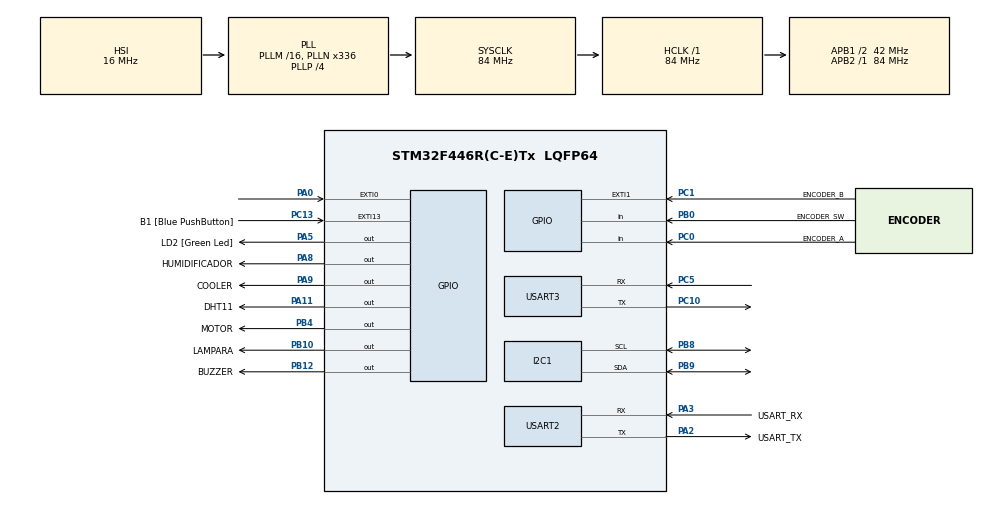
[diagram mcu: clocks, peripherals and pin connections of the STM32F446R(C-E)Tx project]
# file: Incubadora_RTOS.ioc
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Mcu.Family=STM32F4
PH0-OSC_IN.Signal=RCC_OSC_IN
VP_SYS_VS_tim6.Mode=TIM6
RCC.CortexFreq_Value=84000000
NVIC.TIM6_DAC_IRQn=true\:0\:0\:false\:false\:true\:false\:false\:true
PC10.Signal=USART3_TX
PA14.GPIO_Label=TCK
PC0.GPIO_Label=ENCODER_A
PB0.GPIO_Label=ENCODER_SW
PC5.Mode=Asynchronous
PC13.GPIO_Label=B1 [Blue PushButton]
RCC.SYSCLKSource=RCC_SYSCLKSOURCE_PLLCLK
ProjectManager.StackSize=0x400
NVIC.EXTI1_IRQn=true\:5\:0\:false\:false\:true\:true\:true\:true
RCC.HCLKFreq_Value=84000000
RCC.APB2TimFreq_Value=84000000
RCC.AHBFreq_Value=84000000
PH0-OSC_IN.Mode=HSE-External-Clock-Source
RCC.HSE_VALUE=8000000
PB12.GPIO_Label=BUZZER
PA14.Mode=Serial_Wire
PA8.Signal=GPIO_Output
VP_TIM12_VS_ClockSourceINT.Mode=Internal
VP_FREERTOS_VS_CMSIS_V1.Mode=CMSIS_V1
RCC.FLatency-AdvancedSettings=FLASH_LATENCY_2
PH1-OSC_OUT.Mode=HSE-External-Clock-Source
Mcu.Package=LQFP64
PB9.Signal=I2C1_SDA
FREERTOS.configUSE_NEWLIB_REENTRANT=1
NVIC.TimeBase=TIM6_DAC_IRQn
USART2.VirtualMode=VM_ASYNC
PA2.GPIO_Label=USART_TX
NVIC.TimeBaseIP=TIM6
RCC.APB1TimFreq_Value=84000000
PC5.Signal=USART3_RX
PC0.GPIO_PuPd=GPIO_NOPULL
PB4.Signal=GPIO_Output
PA3.Signal=USART2_RX
PB3.GPIO_Label=SWO
FREERTOS.Tasks01=defaultTask,-2,128,StartDefaultTask,Default,NULL,Dynamic,NULL,NULL
PA9.GPIO_Label=COOLER
PC13.Signal=GPXTI13
FREERTOS.INCLUDE_vTaskDelayUntil=1
FREERTOS.configCHECK_FOR_STACK_OVERFLOW=2
PC10.Mode=Asynchronous
PA11.GPIO_Label=DHT11
PC0.Signal=GPIO_Input
RCC.APB1CLKDivider=RCC_HCLK_DIV2
PC14-OSC32_IN.Signal=RCC_OSC32_IN
PA0-WKUP.Signal=GPXTI0
PA3.Mode=Asynchronous
PA13.Signal=SYS_JTMS-SWDIO
PA8.GPIO_Label=HUMIDIFICADOR
ProjectManager.TargetToolchain=STM32CubeIDE
PB10.GPIO_Label=LAMPARA
PB9.Mode=I2C
PA9.Signal=GPIO_Output
RCC.USBFreq_Value=168000000
RCC.LSE_VALUE=32768
PC15-OSC32_OUT.Signal=RCC_OSC32_OUT
PB10.Signal=GPIO_Output
TIM12.Prescaler=83
PA5.Signal=GPIO_Output
board=NUCLEO-F446RE
RCC.VCOOutputFreq_Value=336000000
RCC.APB2Freq_Value=84000000
PB4.GPIO_Label=MOTOR
PC1.GPIO_Label=ENCODER_B
PH1-OSC_OUT.Signal=RCC_OSC_OUT
PA13.Mode=Serial_Wire
Mcu.Name=STM32F446R(C-E)Tx
PA2.Signal=USART2_TX
PA13.GPIO_Label=TMS
PB3.Signal=SYS_JTDO-SWO
NVIC.EXTI0_IRQn=true\:5\:0\:false\:false\:true\:true\:true\:true
RCC.SYSCLKFreq_VALUE=84000000
PA5.GPIO_Label=LD2 [Green Led]
PC13.GPIO_ModeDefaultEXTI=GPIO_MODE_IT_FALLING
USART3.VirtualMode=VM_ASYNC
PA11.Signal=GPIO_Output
PA14.Signal=SYS_JTCK-SWCLK
ProjectManager.HeapSize=0x200
RCC.HSI_VALUE=16000000
RCC.PLLP=RCC_PLLP_DIV4
NVIC.PriorityGroup=NVIC_PRIORITYGROUP_4
PB8.Mode=I2C
RCC.PLLN=336
PA2.Mode=Asynchronous
PB8.Signal=I2C1_SCL
RCC.APB1Freq_Value=42000000
PB0.Signal=GPIO_Input
PC1.Signal=GPXTI1
PB12.Signal=GPIO_Output
PB0.GPIO_PuPd=GPIO_PULLUP
PA3.GPIO_Label=USART_RX

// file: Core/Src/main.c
/* USER CODE BEGIN Header */
/**
  ******************************************************************************
  * @file           : main.c
  * @brief          : Firmware Incubadora - Final (Lógica Control + Flash + UI Config)
  * - Integración completa de persistencia en Flash (Sector 7 F446RE).
  *
  * -
  * - Menú de Configuración editable.
  * - Corrección de brillo LCD
  ******************************************************************************
  */
/* USER CODE END Header */
#include "main.h"
#include "cmsis_os.h"

/* USER CODE BEGIN Includes */
#include "FreeRTOS.h"
#include "task.h"
#include "queue.h"
#include "semphr.h"

#include "i2c-lcd.h"
#include "eeprom.h"
#include "utils.h"
#include "config.h"
#include "rele.h"
#include "dht11.h"

/* USER CODE END Includes */

I2C_HandleTypeDef hi2c1;

TIM_HandleTypeDef htim12;

UART_HandleTypeDef huart2;
UART_HandleTypeDef huart3;

osThreadId defaultTaskHandle;
/* USER CODE BEGIN PV */

TaskHandle_t menuTaskHandle;
TaskHandle_t debounceTaskHandle;
TaskHandle_t motorTaskHandle;
TaskHandle_t controlTaskHandle;
TaskHandle_t sensorTaskHandle;

QueueHandle_t menuQueueHandle;
SemaphoreHandle_t xDHTMutex;

// --- VARIABLES DE SISTEMA ---
volatile uint32_t pulsos_acumulados = 0;
uint16_t global_rpm = 0;
volatile uint8_t is_welcome = 1;

// --- VARIABLES DE CONTROL ---
float last_valid_temp = 0.0f;
float last_valid_hum = 0.0f;
uint32_t last_dht_read_time = 0;
HumidifierState_t hum_state = HUM_STATE_IDLE;
/* USER CODE END PV */

void SystemClock_Config(void);
static void MX_GPIO_Init(void);
static void MX_I2C1_Init(void);
static void MX_USART2_UART_Init(void);
static void MX_USART3_UART_Init(void);
static void MX_TIM12_Init(void);
void StartDefaultTask(void const * argument);

/* USER CODE BEGIN 0 */

/**
 * @brief Tarea principal de gestión de menú e interfaz de usuario.
 *
 * Esta tarea maneja:
 *  -
 *  -
 *  -
 *  -
 *
 * La comunicación con las ISR se realiza mediante una cola RTOS.
 *
 * @param argument Parámetro no utilizado
 */

void StartMenuTask(void *argument)
{
    /* Mensaje de bienvenida */
    if (is_welcome) {
        LCD_ShowWelcome("TDII: INCUBADORA");
        vTaskDelay(pdMS_TO_TICKS(1000));
        is_welcome = 0;
    }

    /* Inicializa la pantalla al arrancar la tarea */
    update_display();

    MenuEvent_t event;
    uint32_t last_draw_time = 0;   // Último refresco del LCD
    int needs_update = 0;          // Flag para redibujar pantalla

    /* Variables para actualización solo ante cambios (Dashboard) */
    float last_disp_temp = -999.0f;
    float last_disp_hum  = -999.0f;
    uint16_t last_disp_rpm = 9999;
    HumidifierState_t last_disp_hum_state = HUM_STATE_IDLE;
    uint8_t last_disp_day = 255;
    uint8_t last_disp_is_running = 255;
    uint8_t last_disp_hour = 255;

    for (;;)
    {
        /* Espera evento del menú (encoder / botón)
           Timeout de 200 ms para permitir refresco periódico del dashboard */
        if (xQueueReceive(menuQueueHandle, &event, pdMS_TO_TICKS(200)) == pdPASS)
        {
            MenuEvent_t initial_event = event;

            /* -------- BOTÓN: PRESIÓN LARGA (volver atrás) -------- */
            if (initial_event == BUTTON_LONG_PRESS) {
                // Si estamos en cualquier sub-menú de edición o test, volvemos al menú principal
                if (current_ui_mode == UI_MODE_TEST_MENU ||
                    current_ui_mode == UI_MODE_CONFIG_EDIT ||
                    current_ui_mode == UI_MODE_CONFIG_GLOBAL ||
                    current_ui_mode == UI_MODE_CONFIG_TIME ||
                    current_ui_mode == UI_MODE_CONFIG_SELECT)
                {
                    current_ui_mode = UI_MODE_MAIN_MENU;
                }
                else if (current_ui_mode == UI_MODE_MAIN_MENU) {
                    current_ui_mode = UI_MODE_DASHBOARD;
                }

                needs_update = 1;
                continue; // Saltar el resto del bucle
            }

            /* -------- PROCESAMIENTO DE MOVIMIENTO -------- */
            int8_t net_movement = 0;
            int button_pressed = 0;

            if (initial_event == ENCODER_RIGHT) net_movement++;
            else if (initial_event == ENCODER_LEFT) net_movement--;
            else if (initial_event == BUTTON_PRESS) button_pressed = 1;

            /* Acumula eventos rápidos del encoder (anti-lag UI) */
            int batch_limit = 20;
            while (batch_limit-- > 0 && xQueueReceive(menuQueueHandle, &event, 0) == pdPASS)
            {
                if (event == ENCODER_RIGHT) net_movement++;
                else if (event == ENCODER_LEFT) net_movement--;
            }

            /* ================= LÓGICA DE INTERFAZ ================= */

            /* -------- DASHBOARD -------- */
            if (current_ui_mode == UI_MODE_DASHBOARD) {
                if (button_pressed) {
                    current_ui_mode = UI_MODE_MAIN_MENU;
                    selected_item = 0;
                    needs_update = 1;
                }
            }

            /* -------- MENÚ PRINCIPAL -------- */
            else if (current_ui_mode == UI_MODE_MAIN_MENU) {

                if (net_movement != 0) {
                    int16_t new_pos = selected_item + net_movement;
                    selected_item = ((new_pos % menu_size) + menu_size) % menu_size;

                    if (selected_item >= menu_top_item + LCD_ROWS)
                        menu_top_item = selected_item - (LCD_ROWS - 1);
                    else if (selected_item < menu_top_item)
                        menu_top_item = selected_item;

                    needs_update = 1;
                }

                if (button_pressed) {
                    if (selected_item == 1) { // INICIAR / PAUSAR
                        /* OPTIMIZACIÓN: Calcular y Guardar UNA sola vez */
                        if (sysData.is_running) {
                            // Pausando: Calcular tiempo transcurrido y sumar
                            uint32_t current_session_min = (HAL_GetTick() - sysData.last_boot_tick) / 60000U;
                            sysData.saved_timestamp += current_session_min;
                            sysData.is_running = 0;
                        } else {
                            // Iniciando: Resetear tick de referencia
                            sysData.is_running = 1;
                            sysData.last_boot_tick = HAL_GetTick();
                        }
                        // Guardado único para no congelar la UI dos veces
                        Save_Config_To_Flash();
                    }
                    else if (selected_item == 2) { // CONFIGURACION
                        current_ui_mode = UI_MODE_CONFIG_SELECT;
                        config_sel_index = 0;
                        config_top_index = 0;
                    }
                    else if (selected_item == 3) { // TEST
                        current_ui_mode = UI_MODE_TEST_MENU;
                        test_selected_item = 0;
                    }
                    else { // VOLVER / VER SENSORES
                        current_ui_mode = UI_MODE_DASHBOARD;
                    }
                    needs_update = 1;
                }
            }

            /* -------- MENÚ DE TEST -------- */
            else if (current_ui_mode == UI_MODE_TEST_MENU) {
                if (net_movement != 0) {
                    int16_t new_pos = test_selected_item + net_movement;
                    test_selected_item = ((new_pos % test_menu_size) + test_menu_size) % test_menu_size;

                    if (test_selected_item >= test_top_item + LCD_ROWS)
                        test_top_item = test_selected_item - (LCD_ROWS - 1);
                    else if (test_selected_item < test_top_item)
                        test_top_item = test_selected_item;

                    needs_update = 1;
                }
                if (button_pressed) {
                    toggle_output(test_selected_item);
                    needs_update = 1;
                }
            }

            /* -------- SELECCIÓN DE CONFIGURACIÓN -------- */
            else if (current_ui_mode == UI_MODE_CONFIG_SELECT) {
                if (net_movement != 0) {
                    int16_t new_pos = config_sel_index + net_movement;
                    config_sel_index = ((new_pos % config_menu_sz) + config_menu_sz) % config_menu_sz;

                    if (config_sel_index >= config_top_index + LCD_ROWS)
                        config_top_index = config_sel_index - (LCD_ROWS - 1);
                    else if (config_sel_index < config_top_index)
                        config_top_index = config_sel_index;

                    needs_update = 1;
                }

                if (button_pressed) {
                    if (config_sel_index <= 1) { // Desarrollo o Eclosión
                        sysData.current_stage_idx = config_sel_index;
                        current_ui_mode = UI_MODE_CONFIG_EDIT;
                        config_item = 0;
                        is_editing_val = 0;
                    }
                    else if (config_sel_index == 2) { // Ciclo Total
                        current_ui_mode = UI_MODE_CONFIG_GLOBAL;
                        config_item = 0;
                        is_editing_val = 0;
                    }
                    else if (config_sel_index == 3) { // Ajustar Tiempo
                        current_ui_mode = UI_MODE_CONFIG_TIME;
                        config_item = 0;
                        is_editing_val = 0;
                        // Cargar valores actuales en variables temporales
                        edit_day  = Get_Current_Day();
                        if (edit_day == 0) edit_day = 1;
                        edit_hour = Get_Current_Hour();
                        edit_min  = Get_Current_Minute();
                    }
                    else { // Volver
                        current_ui_mode = UI_MODE_MAIN_MENU;
                    }
                    needs_update = 1;
                }
            }

            /* -------- CONFIGURACIÓN: EDICIÓN DE ETAPA (LO QUE FALTABA) -------- */
            else if (current_ui_mode == UI_MODE_CONFIG_EDIT) {
                StageConfig_t *st = &sysData.stages[sysData.current_stage_idx];

                if (button_pressed) {
                    if (config_item == 4) { // [SALIR]
                        Save_Config_To_Flash();
                        current_ui_mode = UI_MODE_CONFIG_SELECT;
                    } else {
                        is_editing_val = !is_editing_val;
                    }
                    needs_update = 1;
                }

                if (net_movement != 0) {
                    if (!is_editing_val) {
                        config_item += net_movement;
                        if (config_item < 0) config_item = 4;
                        if (config_item > 4) config_item = 0;
                    } else {
                        switch(config_item) {
                            case 0: // Fin Día
                                st->end_day += net_movement;
                                if(st->end_day < 1) st->end_day = 1;
                                break;
                            case 1: // Temp
                                st->temp_target += (net_movement * 0.1f);
                                if(st->temp_target > 42.0f) st->temp_target = 42.0f; // Límites
                                if(st->temp_target < 20.0f) st->temp_target = 20.0f;
                                break;
                            case 2: // Hum
                                st->hum_target += (float)net_movement;
                                if(st->hum_target > 90.0f) st->hum_target = 90.0f;
                                if(st->hum_target < 20.0f) st->hum_target = 20.0f;
                                break;
                            case 3: // Motor
                                if(net_movement != 0) st->motor_on = !st->motor_on;
                                break;
                        }
                    }
                    needs_update = 1;
                }
            }

            /* -------- CONFIGURACIÓN: GLOBAL (LO QUE FALTABA) -------- */
            else if (current_ui_mode == UI_MODE_CONFIG_GLOBAL) {
                if (button_pressed) {
                    if (config_item == 1) { // [GUARDAR]
                        Save_Config_To_Flash();
                        current_ui_mode = UI_MODE_CONFIG_SELECT;
                    } else {
                        is_editing_val = !is_editing_val;
                    }
                    needs_update = 1;
                }

                if (net_movement != 0) {
                    if (!is_editing_val) {
                        config_item += net_movement;
                        if (config_item < 0) config_item = 1;
                        if (config_item > 1) config_item = 0;
                    } else {
                        if (config_item == 0) { // Total Días
                            sysData.total_days += net_movement;
                            if (sysData.total_days < 1) sysData.total_days = 1;
                        }
                    }
                    needs_update = 1;
                }
            }

            /* -------- CONFIGURACIÓN: TIEMPO -------- */
            else if (current_ui_mode == UI_MODE_CONFIG_TIME) {
                if (button_pressed) {
                    if (config_item == 3) { // [GUARDAR]
                        uint32_t new_total_mins =
                            ((uint32_t)(edit_day - 1) * 1440) +
                            ((uint32_t)edit_hour * 60) +
                            (uint32_t)edit_min;

                        sysData.saved_timestamp = new_total_mins;
                        sysData.last_boot_tick = HAL_GetTick();
                        Save_Config_To_Flash();
                        current_ui_mode = UI_MODE_CONFIG_SELECT;
                    } else {
                        is_editing_val = !is_editing_val;
                    }
                    needs_update = 1;
                }

                if (net_movement != 0) {
                    if (!is_editing_val) {
                        config_item += net_movement;
                        if (config_item < 0) config_item = 3;
                        if (config_item > 3) config_item = 0;
                    } else {
                        switch (config_item) {
                            case 0: // Día
                                edit_day += net_movement;
                                if (edit_day < 1) edit_day = 1;
                                break;
                            case 1: // Hora
                                edit_hour = (edit_hour + net_movement + 24) % 24;
                                break;
                            case 2: // Min
                                edit_min = (edit_min + net_movement + 60) % 60;
                                break;
                        }
                    }
                    needs_update = 1;
                }
            }
        }
        /* ================= TIMEOUT (UPDATE-ON-CHANGE) ================= */
        else
        {
            if (current_ui_mode == UI_MODE_DASHBOARD) {
                // Chequear cambios usando liveStatus
                uint8_t day  = Get_Current_Day();
                uint8_t hour = Get_Current_Hour();

                if (liveStatus.temp_current != last_disp_temp ||
                    liveStatus.hum_current  != last_disp_hum  ||
                    liveStatus.rpm_current  != last_disp_rpm  ||
                    hum_state               != last_disp_hum_state ||
                    day                     != last_disp_day ||
                    hour                    != last_disp_hour ||
                    sysData.is_running      != last_disp_is_running)
                {
                    needs_update = 1;
                }
            }
        }

        /* ================= DIBUJO CONTROLADO ================= */
        uint32_t current_time = HAL_GetTick();

        if (needs_update && (current_time - last_draw_time >= MIN_DRAW_INTERVAL_MS))
        {
            if (current_ui_mode == UI_MODE_DASHBOARD) {
                last_disp_temp = liveStatus.temp_current;
                last_disp_hum  = liveStatus.hum_current;
                last_disp_rpm  = liveStatus.rpm_current;
                last_disp_hum_state = hum_state;
                last_disp_day  = Get_Current_Day();
                last_disp_hour = Get_Current_Hour();
                last_disp_is_running = sysData.is_running;
            }

            update_display();
            last_draw_time = current_time;
            needs_update = 0;
        }
    }
}

/**
 * @brief Tarea de debounce y detección de pulsaciones del botón del encoder.
 *
 * Esta tarea implementa un debounce por integrador digital y detecta:
 *  - Pulsación corta (BUTTON_PRESS)
 *  - Pulsación larga (BUTTON_LONG_PRESS)
 *
 * Funciona mediante sondeo periódico (polling) y envía eventos a la
 * cola del menú para ser procesados por la tarea de UI.
 *
 * Ventajas del enfoque:
 *  - No bloquea interrupciones
 *  - Filtrado robusto de rebotes mecánicos
 *  - Detección confiable de pulsación larga
 *
 * @param argument Parámetro no utilizado
 */
void StartDebounceTask(void *argument)
{
    /* Integrador digital para debounce:
       incrementa cuando el botón está presionado,
       decrementa cuando está liberado */
    uint8_t integrator = 0;

    /* Estado anterior del botón:
       1 = liberado
       0 = presionado */
    uint8_t prev_state = 1;

    /* Contador de tiempo de pulsación (para long press) */
    uint32_t hold_counter = 0;

    /* Flag para evitar reenviar múltiples eventos de pulsación larga */
    uint8_t long_press_sent = 0;

    const TickType_t poll_delay = pdMS_TO_TICKS(DEBOUNCE_POLL_RATE_MS);

    for (;;)
    {
        /* Periodo de muestreo del botón */
        vTaskDelay(poll_delay);

        /* Lectura del pin del botón (activo en nivel bajo) */
        uint8_t pin_state = HAL_GPIO_ReadPin(
                                ENCODER_SW_GPIO_Port,
                                ENCODER_SW_Pin);

        /* ================= DEBOUNCE POR INTEGRADOR ================= */

        if (pin_state == GPIO_PIN_RESET) {
            /* Botón presionado → integrar hacia arriba */
            if (integrator < DEBOUNCE_THRESHOLD)
                integrator++;
        } else {
            /* Botón liberado → integrar hacia abajo */
            if (integrator > 0)
                integrator--;
        }

        /* ================= DETECCIÓN DE EVENTOS ================= */

        /* ---- Transición: LIBERADO → PRESIONADO ---- */
        if (integrator >= DEBOUNCE_THRESHOLD && prev_state == 1) {

            prev_state = 0;        // Nuevo estado: presionado
            hold_counter = 0;      // Reiniciar contador de hold
            long_press_sent = 0;   // Habilitar detección de long press

            /* Enviar evento de pulsación corta */
            MenuEvent_t event = BUTTON_PRESS;
            xQueueSend(menuQueueHandle, &event, pdMS_TO_TICKS(10));
        }

        /* ---- Botón mantenido presionado ---- */
        else if (prev_state == 0 && integrator >= DEBOUNCE_THRESHOLD) {

            hold_counter++;

            /* Detectar pulsación larga */
            if (hold_counter >= LONG_PRESS_TICKS &&
                long_press_sent == 0)
            {
                long_press_sent = 1;

                MenuEvent_t event = BUTTON_LONG_PRESS;
                xQueueSend(menuQueueHandle, &event, pdMS_TO_TICKS(10));
            }
        }

        /* ---- Transición: PRESIONADO → LIBERADO ---- */
        else if (integrator == 0 && prev_state == 0) {

            prev_state = 1;        // Volver a estado liberado
        }
    }
}

/**
 * @brief Tarea de cálculo de RPM del motor.
 *
 * Esta tarea se ejecuta periódicamente y calcula la velocidad del motor
 * en RPM a partir de los pulsos generados por un sensor o encoder.
 *
 * Funcionamiento:
 *  - La interrupción incrementa `motor_pulse_count`
 *  - Esta tarea toma un snapshot del contador de forma atómica
 *  - Calcula las RPM según el intervalo de muestreo
 *  - Actualiza variables globales y de estado en tiempo real
 *
 * El uso de una sección crítica garantiza coherencia de datos entre
 * interrupciones y contexto de tarea.
 *
 * @param argument Parámetro no utilizado
 */
void StartMotorTask(void *argument)
{
    /* Variable local para capturar los pulsos acumulados
       durante el intervalo de medición */
    uint32_t pulses_snapshot = 0;

    const TickType_t calc_delay =
        pdMS_TO_TICKS(MOTOR_CALC_INTERVAL_MS);

    for (;;)
    {
        /* Espera fija entre cálculos de RPM */
        vTaskDelay(calc_delay);

        /* ================= SECCIÓN CR�?TICA =================
           Protege el acceso a motor_pulse_count, que es
           modificada desde una ISR (EXTI / sensor de motor) */
        taskENTER_CRITICAL();
        pulses_snapshot = pulsos_acumulados;  // Copia atómica
        pulsos_acumulados = 0;                 // Reinicio del contador
        taskEXIT_CRITICAL();
        /* =================================================== */

        /* Cálculo de RPM:
           pulses_snapshot  → pulsos en el intervalo
           ENCODER_SLOTS    → pulsos por revolución
           MOTOR_CALC_INTERVAL_MS → ventana de tiempo en ms

           Fórmula:
           RPM = (pulsos * 60s * 1000ms) / (slots * intervalo_ms)
        */
        uint32_t calculated_rpm =
            (pulses_snapshot * 60UL * 1000UL) /
            (ENCODER_SLOTS * MOTOR_CALC_INTERVAL_MS);

        /* Guardar RPM calculada (limitada a 16 bits) */
        global_rpm = (uint16_t)calculated_rpm;

        /* Actualizar estructura de estado en tiempo real
           utilizada por el dashboard / UI */
        liveStatus.rpm_current = global_rpm;
    }
}

/**
 * @brief Tarea principal de control ambiental de la incubadora.
 *
 * Esta tarea implementa el lazo de control de:
 *  - Temperatura (lámpara calefactora + cooler)
 *  - Humedad (humidificador ultrasónico)
 *  - Actualización de variables de estado en tiempo real
 *
 * El control se basa en:
 *  - Histéresis y soft-PWM para temperatura
 *  - Máquina de estados temporizada para humedad
 *
 * Todas las salidas son Active-Low:
 *  - GPIO_PIN_RESET → dispositivo encendido
 *  - GPIO_PIN_SET   → dispositivo apagado
 *
 * @param argument Parámetro no utilizado (requerido por CMSIS-RTOS)
 */
void StartControlTask(void * argument)
{
	// Variables de Objetivos
	    float target_t = 0.0f;
	    float target_h = 0.0f;
	    uint8_t motor_enabled = 0;

	    // --- TIMERS Y FLAGS DE ALARMA TEMPERATURA ---
	    uint32_t timer_tolerable_start = 0;
	    uint8_t  flag_tolerable_active = 0;

	    uint32_t timer_critical_start = 0;
	    uint8_t  flag_critical_active = 0;

	    // --- TIMERS HUMEDAD ---
	    uint32_t timer_hum_alarm_start = 0;
	    uint8_t  flag_hum_alarm_active = 0;

	    // --- VARIABLES PARA TELEGRAM/UART ---
	    char msg_buffer[128];
	    uint32_t last_telegram_tick = 0;
	    const uint32_t TELEGRAM_COOLDOWN = 30000; // 1 mensaje por medio minuto máximo

	    /* ============== CONFIGURACIÓN VOLTEO ============== */
		// Cada cuánto tiempo se activa (2 Horas = 7,200,000 ms)
		const uint32_t INTERVALO_VOLTEO_MS = 60000;

		// CANTIDAD DE PULSOS para un giro perfecto

		const uint32_t PULSOS_OBJETIVO = 10;

		// Timeout de seguridad: Si en 20 seg no llegó a los pulsos, corta igual.
		const uint32_t TIEMPO_MAXIMO_SEGURIDAD = 200000;

		uint32_t ultimo_volteo_tick = 0; // Para medir las 2 horas
		uint8_t  is_motor_turning = 0;   // Estado interno
		/* ================================================== */

	    // Sincronización inicial
	    vTaskDelay(pdMS_TO_TICKS(2000));

	    for(;;)
	    {
	        // Evitar ejecución durante menú de prueba
	        if (current_ui_mode == UI_MODE_TEST_MENU) {
	            vTaskDelay(pdMS_TO_TICKS(500));
	            continue;
	        }

	        uint32_t now = HAL_GetTick();

	        // 1. Obtener Objetivos
	        Get_Active_Targets(&target_t, &target_h, &motor_enabled);

	        // Actualizar datos para UI
	        liveStatus.day_current  = Get_Current_Day();
	        liveStatus.hour_current = Get_Current_Hour();
	        liveStatus.temp_target  = target_t;
	        liveStatus.hum_target   = target_h;

	        // Si el sistema está en pausa o no iniciado
	        if (target_t == 0.0f) {
	            RELES_ApagarTodos();
	            flag_tolerable_active = 0;
	            flag_critical_active = 0;
	            flag_hum_alarm_active = 0;
	            vTaskDelay(pdMS_TO_TICKS(1000));
	            continue;
	        }

	        float curr_t = liveStatus.temp_current;
	        float curr_h = liveStatus.hum_current;

	        // --- CÁLCULO DE UMBRALES ---
	        float diff_t = curr_t - target_t; // +Calor, -Frio
	        float error_t_abs = fabsf(diff_t);

	        // Umbrales Temperatura (3% y 8%)
	        float UMBRAL_TEMP_TOLERABLE = target_t * 0.03f;
	        float UMBRAL_TEMP_CRITICAL  = target_t * 0.08f;

	        // Umbrales Humedad (5%)
	        float UMBRAL_HUM_RANGO = target_h * 0.05f;

	        // Tiempos Límite
	        uint32_t TIME_LIMIT_TEMP_TOLERABLE = pdMS_TO_TICKS(360000); // 6 min
	        uint32_t TIME_LIMIT_TEMP_CRITICAL  = pdMS_TO_TICKS(180000);  // 3 Minutos
	        uint32_t TIME_LIMIT_HUM_ALARM      = pdMS_TO_TICKS(120000); // 2 Minutos

	        // Estados de Actuadores (Lógica negativa: 1 = Encender)
	        uint8_t req_lampara = 0;
	        uint8_t req_cooler = 0;
	        uint8_t req_humidificador = 0;
	        uint8_t req_buzzer = 0;
	        uint8_t req_telegram = 0;

	        msg_buffer[0] = '\0'; // Limpiar mensaje

	        // ============================================================
	        //              LÓGICA DE TEMPERATURA
	        // ============================================================

	        // 1. Detección de Estado CRÍTICO (> 8%)
	        if (error_t_abs >= UMBRAL_TEMP_CRITICAL) {
	            if (!flag_critical_active) {
	                timer_critical_start = now;
	                flag_critical_active = 1;
	            }
	            // Alarma tras 15 minutos
	            if ((now - timer_critical_start) >= TIME_LIMIT_TEMP_CRITICAL) {
	                req_buzzer = 1;
	                req_telegram = 1;
	                snprintf(msg_buffer, sizeof(msg_buffer),
	                    "ALERTA CRITICA: Temp %0.1fC (Desvio >8%%). Tiempo excedido.\r\n", curr_t);
	            }
	        } else {
	            flag_critical_active = 0;
	        }

	        // 2. Detección de Estado TOLERABLE (3% - 8%)
	        if (error_t_abs >= UMBRAL_TEMP_TOLERABLE && error_t_abs < UMBRAL_TEMP_CRITICAL) {
	            if (!flag_tolerable_active) {
	                timer_tolerable_start = now;
	                flag_tolerable_active = 1;
	            }
	            // Alarma tras 1 hora
	            if ((now - timer_tolerable_start) >= TIME_LIMIT_TEMP_TOLERABLE) {
	                req_buzzer = 1;
	                req_telegram = 1;
	                // Prioridad al mensaje crítico si ya existe
	                if (msg_buffer[0] == '\0') {
	                    snprintf(msg_buffer, sizeof(msg_buffer),
	                        "ALERTA TOLERABLE: Temp %0.1fC. Fuera de rango > 1 hora.\r\n", curr_t);
	                }
	            }
	        } else {
	            flag_tolerable_active = 0;
	        }

	        // 3. Control de Actuadores Temperatura
	        if (diff_t > UMBRAL_TEMP_TOLERABLE) {
	            // Exceso de Calor (> +3%): Activar Cooler, Apagar Lámpara
	            req_cooler = 1;
	            req_lampara = 0;
	        }
	        else if (diff_t < -UMBRAL_TEMP_TOLERABLE) {
	            // Exceso de Frío (< -3%): Apagar Cooler, Activar Lámpara
	            req_cooler = 0;
	            req_lampara = 1;
	        }
	        else {
	            // Zona de Histéresis Normal (+/- 3%)
	            // Mantenimiento simple
	            if (curr_t < target_t) {
	                req_lampara = 1;
	            } else {
	                req_lampara = 0;
	            }
	            // Cooler apagado en zona normal (salvo que humedad lo pida)
	        }

	        // ============================================================
	        //              LÓGICA DE HUMEDAD
	        // ============================================================

	        float hum_diff = curr_h - target_h;
	        float hum_error_abs = fabsf(hum_diff);

	        // 1. Alarma Fuera de Rango (> 5%)
	        if (hum_error_abs > UMBRAL_HUM_RANGO) {
	            if (!flag_hum_alarm_active) {
	                timer_hum_alarm_start = now;
	                flag_hum_alarm_active = 1;
	            }
	            // Alarma tras 30 minutos
	            if ((now - timer_hum_alarm_start) >= TIME_LIMIT_HUM_ALARM) {
	                req_buzzer = 1;
	                req_telegram = 1;
	                 if (msg_buffer[0] == '\0') {
	                    snprintf(msg_buffer, sizeof(msg_buffer),
	                        "ALERTA HUMEDAD: %0.1f%%. Fuera de rango > 30 min.\r\n", curr_h);
	                }
	            }
	        } else {
	            flag_hum_alarm_active = 0;
	        }

	        // 2. Control Actuadores Humedad
	        if (curr_h < (target_h - UMBRAL_HUM_RANGO)) {
	            // Humedad Baja: Activar Humidificador
	            req_humidificador = 1;
	        }
	        else if (curr_h > (target_h + UMBRAL_HUM_RANGO)) {
	            // Humedad Alta: Activar Cooler para ventilar
	            req_cooler = 1;
	            req_humidificador = 0;
	        }
	        else {
	            // En rango: Apagar humidificador
	            req_humidificador = 0;
	        }

	        // ============================================================
	        //              EJECUCIÓN FÍSICA
	        // ============================================================

	        // Lámpara
	        if (req_lampara) encender_lampara();
	        else apagar_lampara();

	        // Cooler (OR Lógico: Se enciende por Temp O por Humedad)
	        if (req_cooler) encender_cooler();
	        else apagar_cooler();

	        // Humidificador
	        if (req_humidificador) encender_humidificador();
	        else apagar_humidificador();

	        // Buzzer (Alarma sonora)
	        if (req_buzzer) encender_buzzer();
	        else apagar_buzzer();

	        // Telegram / UART
	        if (req_telegram && (msg_buffer[0] != '\0')) {
	             if ((now - last_telegram_tick) > TELEGRAM_COOLDOWN) {
	                 // Enviar por UART3
	                 HAL_UART_Transmit(&huart3, (uint8_t*)msg_buffer, strlen(msg_buffer), 100);
	                 last_telegram_tick = now;
	             }
	        }

	        if (motor_enabled) { // Solo si la etapa (Ej: Desarrollo) lo permite

				// 1. INICIAR EL GIRO
				// Si no está girando Y pasaron 2 horas desde el último volteo
				if (!is_motor_turning && (now - ultimo_volteo_tick >= INTERVALO_VOLTEO_MS)) {

					// Reseteamos el contador de pulsos a 0 de forma segura
					taskENTER_CRITICAL();
					pulsos_acumulados = 0;
					taskEXIT_CRITICAL();

					encender_motor();
					is_motor_turning = 1;      // Flag: Estamos girando
					ultimo_volteo_tick = now;  // Reiniciamos el cronómetro de 2 horas
				}

				// 2. DETENER EL GIRO
				// Si está girando actualmente...
				if (is_motor_turning) {

					// Leemos los pulsos actuales
					uint32_t pulsos_actuales;
					taskENTER_CRITICAL();
					pulsos_actuales = pulsos_acumulados;
					taskEXIT_CRITICAL();

					// CONDICIÓN DE CORTE:
					// A. Llegamos a la cantidad de pulsos deseada (Posición correcta)
					// B. O pasó demasiado tiempo (Seguridad por si se rompe la correa/sensor)
					if ((pulsos_actuales >= PULSOS_OBJETIVO) ||
						((now - ultimo_volteo_tick) > TIEMPO_MAXIMO_SEGURIDAD))
					{
						apagar_motor();
						is_motor_turning = 0; // Fin del giro
					}
				}

			} else {
				// Si cambiamos de etapa (a Eclosión) y el motor estaba andando,
				// lo apagamos inmediatamente.
				if (is_motor_turning || (estado_motor() == RELE_ACTIVO)) {
					apagar_motor();
					is_motor_turning = 0;
				}
			}

	        vTaskDelay(pdMS_TO_TICKS(1000));
	    }

}
void StartSensorTask(void *argument){
    TickType_t lastWake = xTaskGetTickCount();

    for (;;)
    {
        /* Pauso scheduler para mantener timing fino del DHT11 */
		DHT11_GetDatos();

        vTaskDelayUntil(&lastWake, pdMS_TO_TICKS(1000));
    }
}

/* USER CODE END 0 */

int main(void)
{

  /* MCU Configuration--------------------------------------------------------*/

  /* Reset of all peripherals, Initializes the Flash interface and the Systick. */
  HAL_Init();

  /* Configure the system clock */
  SystemClock_Config();

  /* Initialize all configured peripherals */
  MX_GPIO_Init();
  MX_I2C1_Init();
  MX_USART2_UART_Init();
  MX_USART3_UART_Init();
  MX_TIM12_Init();

  /* USER CODE BEGIN 2 */
  HAL_GPIO_WritePin(LD2_GPIO_Port, LD2_Pin, GPIO_PIN_SET);

  Enable_Internal_Pullups(); // Anti-ruido I2C
  I2C_Scan();                // Escaneo
  HD44780_Init(LCD_ROWS);
  // Cargar configuración guardada
  Load_Config_From_Flash();

  DHT11_Init();
  RELES_Init();
  /* USER CODE END 2 */

  /* USER CODE BEGIN RTOS_MUTEX */
  xDHTMutex = xSemaphoreCreateMutex();
  /* USER CODE END RTOS_MUTEX */

  /* USER CODE BEGIN RTOS_QUEUES */
  menuQueueHandle = xQueueCreate(32, sizeof(uint32_t));
  /* USER CODE END RTOS_QUEUES */

  /* Create the thread(s) */
  /* definition and creation of defaultTask */
  osThreadDef(defaultTask, StartDefaultTask, osPriorityLow, 0, 128);
  defaultTaskHandle = osThreadCreate(osThread(defaultTask), NULL);

  /* USER CODE BEGIN RTOS_THREADS */
  xTaskCreate(StartMenuTask, "Menu", 1024, NULL, osPriorityRealtime, &menuTaskHandle);
  xTaskCreate(StartDebounceTask, "Debounce", 128, NULL, osPriorityNormal, &debounceTaskHandle);
  xTaskCreate(StartMotorTask, "Motor", 128, NULL, osPriorityNormal, &motorTaskHandle);
  xTaskCreate(StartControlTask, "Control", 512, NULL, osPriorityNormal, &controlTaskHandle);
  xTaskCreate(StartSensorTask, "Sensor", 1024, NULL, osPriorityAboveNormal, &sensorTaskHandle);

  /* USER CODE END RTOS_THREADS */

  /* Start scheduler */
  osKernelStart();

  /* We should never get here as control is now taken by the scheduler */
  /* Infinite loop */
  while (1)
  {

  }
}

void SystemClock_Config(void)
{
  RCC_OscInitTypeDef RCC_OscInitStruct = {0};
  RCC_ClkInitTypeDef RCC_ClkInitStruct = {0};

  /** Configure the main internal regulator output voltage
  */
  __HAL_RCC_PWR_CLK_ENABLE();
  __HAL_PWR_VOLTAGESCALING_CONFIG(PWR_REGULATOR_VOLTAGE_SCALE3);
  /** Initializes the RCC Oscillators according to the specified parameters
  * in the RCC_OscInitTypeDef structure.
  */
  RCC_OscInitStruct.OscillatorType = RCC_OSCILLATORTYPE_HSI;
  RCC_OscInitStruct.HSIState = RCC_HSI_ON;
  RCC_OscInitStruct.HSICalibrationValue = RCC_HSICALIBRATION_DEFAULT;
  RCC_OscInitStruct.PLL.PLLState = RCC_PLL_ON;
  RCC_OscInitStruct.PLL.PLLSource = RCC_PLLSOURCE_HSI;
  RCC_OscInitStruct.PLL.PLLM = 16;
  RCC_OscInitStruct.PLL.PLLN = 336;
  RCC_OscInitStruct.PLL.PLLP = RCC_PLLP_DIV4;
  RCC_OscInitStruct.PLL.PLLQ = 2;
  RCC_OscInitStruct.PLL.PLLR = 2;
  if (HAL_RCC_OscConfig(&RCC_OscInitStruct) != HAL_OK)
  {
    Error_Handler();
  }
  /** Initializes the CPU, AHB and APB buses clocks
  */
  RCC_ClkInitStruct.ClockType = RCC_CLOCKTYPE_HCLK|RCC_CLOCKTYPE_SYSCLK
                              |RCC_CLOCKTYPE_PCLK1|RCC_CLOCKTYPE_PCLK2;
  RCC_ClkInitStruct.SYSCLKSource = RCC_SYSCLKSOURCE_PLLCLK;
  RCC_ClkInitStruct.AHBCLKDivider = RCC_SYSCLK_DIV1;
  RCC_ClkInitStruct.APB1CLKDivider = RCC_HCLK_DIV2;
  RCC_ClkInitStruct.APB2CLKDivider = RCC_HCLK_DIV1;

  if (HAL_RCC_ClockConfig(&RCC_ClkInitStruct, FLASH_LATENCY_2) != HAL_OK)
  {
    Error_Handler();
  }
}

static void MX_I2C1_Init(void)
{

  hi2c1.Instance = I2C1;
  hi2c1.Init.ClockSpeed = 100000;
  hi2c1.Init.DutyCycle = I2C_DUTYCYCLE_2;
  hi2c1.Init.OwnAddress1 = 0;
  hi2c1.Init.AddressingMode = I2C_ADDRESSINGMODE_7BIT;
  hi2c1.Init.DualAddressMode = I2C_DUALADDRESS_DISABLE;
  hi2c1.Init.OwnAddress2 = 0;
  hi2c1.Init.GeneralCallMode = I2C_GENERALCALL_DISABLE;
  hi2c1.Init.NoStretchMode = I2C_NOSTRETCH_DISABLE;
  if (HAL_I2C_Init(&hi2c1) != HAL_OK)
  {
    Error_Handler();
  }

}

static void MX_TIM12_Init(void)
{

  TIM_ClockConfigTypeDef sClockSourceConfig = {0};

  htim12.Instance = TIM12;
  htim12.Init.Prescaler = 83;
  htim12.Init.CounterMode = TIM_COUNTERMODE_UP;
  htim12.Init.Period = 65535;
  htim12.Init.ClockDivision = TIM_CLOCKDIVISION_DIV1;
  htim12.Init.AutoReloadPreload = TIM_AUTORELOAD_PRELOAD_DISABLE;
  if (HAL_TIM_Base_Init(&htim12) != HAL_OK)
  {
    Error_Handler();
  }
  sClockSourceConfig.ClockSource = TIM_CLOCKSOURCE_INTERNAL;
  if (HAL_TIM_ConfigClockSource(&htim12, &sClockSourceConfig) != HAL_OK)
  {
    Error_Handler();
  }

}

static void MX_USART2_UART_Init(void)
{

  huart2.Instance = USART2;
  huart2.Init.BaudRate = 115200;
  huart2.Init.WordLength = UART_WORDLENGTH_8B;
  huart2.Init.StopBits = UART_STOPBITS_1;
  huart2.Init.Parity = UART_PARITY_NONE;
  huart2.Init.Mode = UART_MODE_TX_RX;
  huart2.Init.HwFlowCtl = UART_HWCONTROL_NONE;
  huart2.Init.OverSampling = UART_OVERSAMPLING_16;
  if (HAL_UART_Init(&huart2) != HAL_OK)
  {
    Error_Handler();
  }

}

static void MX_USART3_UART_Init(void)
{

  huart3.Instance = USART3;
  huart3.Init.BaudRate = 115200;
  huart3.Init.WordLength = UART_WORDLENGTH_8B;
  huart3.Init.StopBits = UART_STOPBITS_1;
  huart3.Init.Parity = UART_PARITY_NONE;
  huart3.Init.Mode = UART_MODE_TX_RX;
  huart3.Init.HwFlowCtl = UART_HWCONTROL_NONE;
  huart3.Init.OverSampling = UART_OVERSAMPLING_16;
  if (HAL_UART_Init(&huart3) != HAL_OK)
  {
    Error_Handler();
  }

}

static void MX_GPIO_Init(void)
{
  GPIO_InitTypeDef GPIO_InitStruct = {0};

  /* GPIO Ports Clock Enable */
  __HAL_RCC_GPIOC_CLK_ENABLE();
  __HAL_RCC_GPIOH_CLK_ENABLE();
  __HAL_RCC_GPIOA_CLK_ENABLE();
  __HAL_RCC_GPIOB_CLK_ENABLE();

  /*Configure GPIO pin Output Level */
  HAL_GPIO_WritePin(GPIOA, LD2_Pin|HUMIDIFICADOR_Pin|COOLER_Pin|DHT11_Pin, GPIO_PIN_RESET);

  /*Configure GPIO pin Output Level */
  HAL_GPIO_WritePin(GPIOB, LAMPARA_Pin|BUZZER_Pin|MOTOR_Pin, GPIO_PIN_RESET);

  /*Configure GPIO pin : B1_Pin */
  GPIO_InitStruct.Pin = B1_Pin;
  GPIO_InitStruct.Mode = GPIO_MODE_IT_FALLING;
  GPIO_InitStruct.Pull = GPIO_NOPULL;
  HAL_GPIO_Init(B1_GPIO_Port, &GPIO_InitStruct);

  /*Configure GPIO pin : ENCODER_A_Pin */
  GPIO_InitStruct.Pin = ENCODER_A_Pin;
  GPIO_InitStruct.Mode = GPIO_MODE_INPUT;
  GPIO_InitStruct.Pull = GPIO_NOPULL;
  HAL_GPIO_Init(ENCODER_A_GPIO_Port, &GPIO_InitStruct);

  /*Configure GPIO pin : ENCODER_B_Pin */
  GPIO_InitStruct.Pin = ENCODER_B_Pin;
  GPIO_InitStruct.Mode = GPIO_MODE_IT_RISING;
  GPIO_InitStruct.Pull = GPIO_NOPULL;
  HAL_GPIO_Init(ENCODER_B_GPIO_Port, &GPIO_InitStruct);

  /*Configure GPIO pin : PA0 */
  GPIO_InitStruct.Pin = GPIO_PIN_0;
  GPIO_InitStruct.Mode = GPIO_MODE_IT_RISING;
  GPIO_InitStruct.Pull = GPIO_NOPULL;
  HAL_GPIO_Init(GPIOA, &GPIO_InitStruct);

  /*Configure GPIO pins : LD2_Pin HUMIDIFICADOR_Pin COOLER_Pin DHT11_Pin */
  GPIO_InitStruct.Pin = LD2_Pin|HUMIDIFICADOR_Pin|COOLER_Pin|DHT11_Pin;
  GPIO_InitStruct.Mode = GPIO_MODE_OUTPUT_PP;
  GPIO_InitStruct.Pull = GPIO_NOPULL;
  GPIO_InitStruct.Speed = GPIO_SPEED_FREQ_LOW;
  HAL_GPIO_Init(GPIOA, &GPIO_InitStruct);

  /*Configure GPIO pin : ENCODER_SW_Pin */
  GPIO_InitStruct.Pin = ENCODER_SW_Pin;
  GPIO_InitStruct.Mode = GPIO_MODE_INPUT;
  GPIO_InitStruct.Pull = GPIO_PULLUP;
  HAL_GPIO_Init(ENCODER_SW_GPIO_Port, &GPIO_InitStruct);

  /*Configure GPIO pins : LAMPARA_Pin BUZZER_Pin MOTOR_Pin */
  GPIO_InitStruct.Pin = LAMPARA_Pin|BUZZER_Pin|MOTOR_Pin;
  GPIO_InitStruct.Mode = GPIO_MODE_OUTPUT_PP;
  GPIO_InitStruct.Pull = GPIO_NOPULL;
  GPIO_InitStruct.Speed = GPIO_SPEED_FREQ_LOW;
  HAL_GPIO_Init(GPIOB, &GPIO_InitStruct);

  /* EXTI interrupt init*/
  HAL_NVIC_SetPriority(EXTI0_IRQn, 5, 0);
  HAL_NVIC_EnableIRQ(EXTI0_IRQn);

  HAL_NVIC_SetPriority(EXTI1_IRQn, 5, 0);
  HAL_NVIC_EnableIRQ(EXTI1_IRQn);

}

/* USER CODE BEGIN 4 */

void vApplicationStackOverflowHook(TaskHandle_t xTask, char *pcTaskName)
{
   while(1)
   {
      HAL_GPIO_TogglePin(LD2_GPIO_Port, LD2_Pin);
      HAL_Delay(50);
   }
}

/**
 * @brief Callback de interrupción externa por GPIO (EXTI).
 *
 * Esta función es llamada automáticamente por la HAL cuando ocurre
 * una interrupción externa en un pin configurado como EXTI.
 *
 * Maneja dos funcionalidades:
 *  - Conteo de pulsos del sensor de motor (RPM)
 *  - Decodificación de un encoder rotativo en cuadratura (A/B)
 *
 * @param GPIO_Pin Pin que generó la interrupción.
 */
void HAL_GPIO_EXTI_Callback(uint16_t GPIO_Pin)
{
	/* ================= SENSOR DE MOTOR ================= */
	    // Si la interrupción proviene del sensor de RPM del motor
	    if (GPIO_Pin == MOTOR_SENSOR_PIN) {
	        // Incrementamos ambas variables:
	        pulsos_acumulados++;
	        return;
	    }

    /* ================= ENCODER ROTATIVO ================= */

    // Si la interrupción proviene de cualquiera de las fases del encoder
    if (GPIO_Pin == ENCODER_A_Pin || GPIO_Pin == ENCODER_B_Pin) {

        // Último estado válido del encoder (AB)
        static uint8_t last_state = 0;

        // Contador interno para acumular transiciones
        // 4 transiciones = 1 paso mecánico del encoder
        static int8_t counter = 0;

        // Leer estados actuales de las señales A y B
        uint8_t state_A = HAL_GPIO_ReadPin(ENCODER_A_GPIO_Port, ENCODER_A_Pin);
        uint8_t state_B = HAL_GPIO_ReadPin(ENCODER_B_GPIO_Port, ENCODER_B_Pin);

        // Combinar A y B en un estado de 2 bits: [A B]
        uint8_t current_state = (state_A << 1) | state_B;

        // Ignorar si el estado no cambió (rebotes o ruido)
        if (current_state == last_state) return;

        /*
         * Tabla de transición del encoder en cuadratura.
         * Index = (last_state << 2) | current_state
         * Valores:
         *  +1 -> giro horario
         *  -1 -> giro antihorario
         *   0 -> transición inválida o ruido
         */
        const int8_t transition_table[16] = {
             0, -1,  1,  0,
             1,  0,  0, -1,
            -1,  0,  0,  1,
             0,  1, -1,  0,
        };

        // Obtener la transición correspondiente
        int8_t transition =
            transition_table[(last_state << 2) | current_state];

        // Si la transición es válida
        if (transition != 0) {

            // Acumular transición
            counter += transition;

            // 4 transiciones positivas → un paso a la derecha
            if (counter >= 4) {
                MenuEvent_t event = ENCODER_RIGHT;

                // Enviar evento a la cola del menú
                osMessagePut(menuQueueHandle, (uint32_t)event, 0);

                // Ajustar contador
                counter -= 4;
            }
            // 4 transiciones negativas → un paso a la izquierda
            else if (counter <= -4) {
                MenuEvent_t event = ENCODER_LEFT;

                // Enviar evento a la cola del menú
                osMessagePut(menuQueueHandle, (uint32_t)event, 0);

                // Ajustar contador
                counter += 4;
            }
        }

        // Actualizar el último estado del encoder
        last_state = current_state;
    }
}

/* USER CODE END 4 */

void StartDefaultTask(void const * argument)
{
  for(;;)
  {
    osDelay(1);
  }
}

 /**
  * @brief  Period elapsed callback in non blocking mode
  * @note   This function is called  when TIM6 interrupt took place, inside
  * HAL_TIM_IRQHandler(). It makes a direct call to HAL_IncTick() to increment
  * a global variable "uwTick" used as application time base.
  * @param  htim : TIM handle
  * @retval None
  */
void HAL_TIM_PeriodElapsedCallback(TIM_HandleTypeDef *htim)
{
  if (htim->Instance == TIM6) {
    HAL_IncTick();
  }
}

void Error_Handler(void)
{
  __disable_irq();
  while (1)
  {
  }
}

/************************ (C) COPYRIGHT STMicroelectronics *****END OF FILE****/

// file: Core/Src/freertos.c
/* USER CODE BEGIN Header */
/**
  ******************************************************************************
  * File Name          : freertos.c
  * Description        : Code for freertos applications
  ******************************************************************************
  * @attention
  *
  * <h2><center>&copy; Copyright (c) 2025 STMicroelectronics.
  * All rights reserved.</center></h2>
  *
  * This software component is licensed by ST under Ultimate Liberty license
  * SLA0044, the "License"; You may not use this file except in compliance with
  * the License. You may obtain a copy of the License at:
  *                             www.st.com/SLA0044
  *
  ******************************************************************************
  */
/* USER CODE END Header */

#include "FreeRTOS.h"
#include "task.h"
#include "main.h"

/* GetIdleTaskMemory prototype (linked to static allocation support) */
void vApplicationGetIdleTaskMemory( StaticTask_t **ppxIdleTaskTCBBuffer, StackType_t **ppxIdleTaskStackBuffer, uint32_t *pulIdleTaskStackSize );

/* Hook prototypes */
void vApplicationStackOverflowHook(xTaskHandle xTask, signed char *pcTaskName);

/* USER CODE BEGIN 4 */
__weak void vApplicationStackOverflowHook(xTaskHandle xTask, signed char *pcTaskName)
{
   /* Run time stack overflow checking is performed if
   configCHECK_FOR_STACK_OVERFLOW is defined to 1 or 2. This hook function is
   called if a stack overflow is detected. */
}
/* USER CODE END 4 */

/* USER CODE BEGIN GET_IDLE_TASK_MEMORY */
static StaticTask_t xIdleTaskTCBBuffer;
static StackType_t xIdleStack[configMINIMAL_STACK_SIZE];

void vApplicationGetIdleTaskMemory( StaticTask_t **ppxIdleTaskTCBBuffer, StackType_t **ppxIdleTaskStackBuffer, uint32_t *pulIdleTaskStackSize )
{
  *ppxIdleTaskTCBBuffer = &xIdleTaskTCBBuffer;
  *ppxIdleTaskStackBuffer = &xIdleStack[0];
  *pulIdleTaskStackSize = configMINIMAL_STACK_SIZE;
  /* place for user code */
}
/* USER CODE END GET_IDLE_TASK_MEMORY */

/************************ (C) COPYRIGHT STMicroelectronics *****END OF FILE****/
